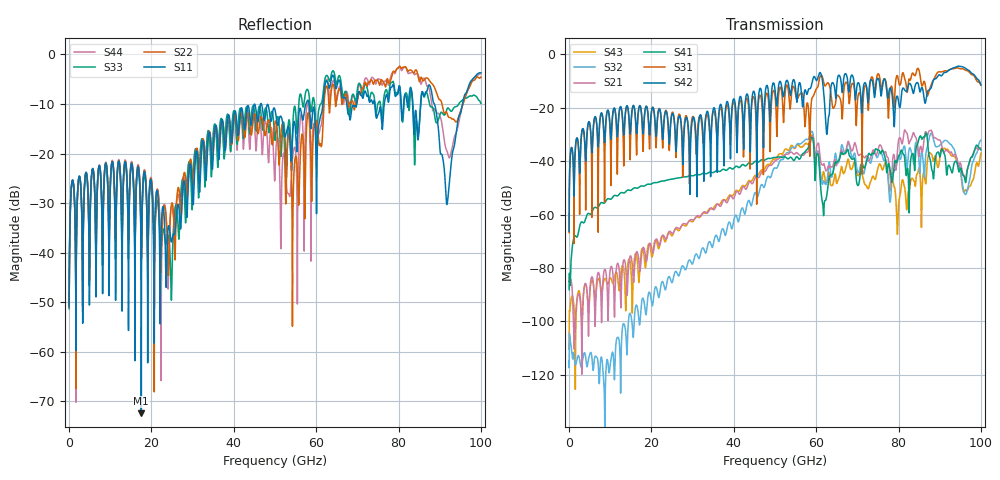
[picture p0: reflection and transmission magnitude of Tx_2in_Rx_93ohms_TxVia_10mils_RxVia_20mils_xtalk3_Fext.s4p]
! Info: Touchstone file created by Circ.  Input file=Tx_2in_Rx_93ohms_TxVia_10mils_RxVia_20mils.circ
# Hz S RI R 50
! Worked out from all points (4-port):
!   10000 points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, 10 MHz to 100 GHz, reference 50 ohm
!   strongest paths, dB at 10 MHz, 25.01 GHz, 50.01 GHz, 75.01 GHz, 100 GHz:
!     S42: -66.2, -22.4, -13.1, -9.0, -11.4
!     S31: -66.8, -21.8, -15.5, -7.3, -11.5
!     S41: -88.1, -46.8, -38.6, -35.8, -35.8
!     S21: -85.1, -67.1, -39.9, -35.8, -35.1
!     S32: -114.8, -85.5, -42.5, -38.1, -32.1
!     S43: -110.4, -68.0, -39.2, -42.6, -37.0
!   lowest |S11| = -72.4 dB at 17.54 GHz (marker M1), VSWR 1.00, Z = 50 - j0.00989 ohm
!   |S11| at or under -10 dB: start of sweep to 45.01 GHz; 46.73 GHz to 57.51 GHz (10.78 GHz wide, 20.7 % of centre); 88.71 GHz to 95.51 GHz (6.797 GHz wide, 7.38 % of centre)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
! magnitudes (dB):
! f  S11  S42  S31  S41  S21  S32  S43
! 10 MHz  -50.7  -66.2  -66.8  -88.1  -85.1  -114.8  -110.4
! 17.54 GHz  -72.4  -21.3  -21.7  -49.3  -76.2  -93.7  -73.7
! 58.8 GHz  -14.9  -11.9  -18.3  -31.3  -31.8  -29.0  -30.5
! 61.87 GHz  -7.9  -14.9  -10.7  -58.5  -40.9  -47.4  -44.2
! 79.8 GHz  -8.0  -16.0  -8.3  -39.3  -35.0  -38.9  -64.6
! 91.85 GHz  -30.0  -6.4  -6.2  -43.6  -36.2  -32.5  -35.5
! 100 GHz  -3.7  -11.4  -11.5  -35.8  -35.1  -32.1  -37.0
